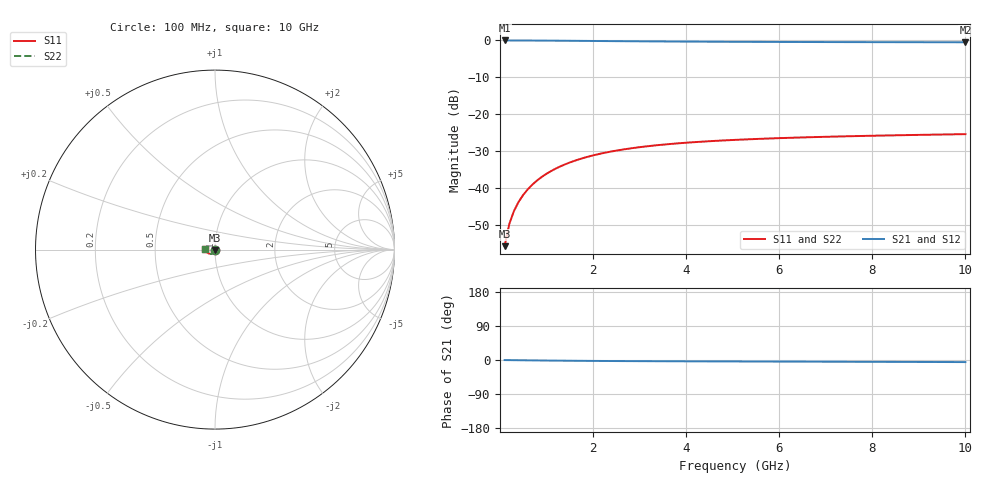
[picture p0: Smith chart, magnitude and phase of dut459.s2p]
! Touchstone file exported from HFSS 2024.1.0
!  File:  C:/UserFiles/LocalFiles/RDL_TSV_Batchsim/temp_TSV1_459_1779697350.aedt
!  Generated:  04:28:18 PM May 25, 2026
!  Design:  TSV1
!  Project:  temp_TSV1_459_1779697350
!  Setup:  Setup1
!  Solution:  Sweep
! Variables:
!  dtsv = 12.95um
!  hbump = 3um
!  htsv = 84.58um
!  lrdl = 252.1521522um
!  p = 40
!  p1 = 59.35um
!  t = 500um
!  trdl = 3um
!  wrdl = 24.89489489um
# GHz S MA R 50.000000
! Terminal data exported
! Port[1] = TSV22_T1
! Port[2] = TSV22_T2
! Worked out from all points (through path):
!   100 points, 100 MHz to 10 GHz, reference 50 ohm
!   highest |S21| = 0.00 dB at 100 MHz (marker M1); lowest = -0.5 dB at 10 GHz (marker M2)
!   lowest |S11| = -55.8 dB at 100 MHz (marker M3), VSWR 1.00, Z = 50 - j0.162 ohm
!   |S11| at or under -10 dB: start of sweep to end of sweep
!   |S22| runs from -55.8 to -25.4 dB; largest |S21 - S12| = 7.4e-15
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0.1  0.001619 -88.8  0.9998 -0.2  0.9998 -0.2  0.001619 -88.8
! Gamma 0 0 0 0
! Port Impedance 50 0 50 0
0.2  0.003233 -92.2  0.9997 -0.3  0.9997 -0.3  0.003233 -92.2
0.3  0.004845 -94.7  0.9994 -0.4  0.9994 -0.4  0.004845 -94.7
0.4  0.006446 -96.9  0.999 -0.6  0.999 -0.6  0.006446 -96.9
0.5  0.008031 -99.1  0.9984 -0.7  0.9984 -0.7  0.008031 -99.1
0.6  0.009594 -101.2  0.9979 -0.9  0.9979 -0.9  0.009594 -101.2
0.7  0.01113 -103.2  0.9972 -1.0  0.9972 -1.0  0.01113 -103.2
0.8  0.01263 -105.2  0.9964 -1.1  0.9964 -1.1  0.01263 -105.2
0.9  0.01411 -107.1  0.9956 -1.3  0.9956 -1.3  0.01411 -107.1
1.1  0.01694 -110.9  0.9937 -1.5  0.9937 -1.5  0.01694 -110.9
1.4  0.02087 -116.3  0.9906 -1.9  0.9906 -1.9  0.02087 -116.3
1.6  0.02328 -119.6  0.9884 -2.1  0.9884 -2.1  0.02328 -119.6
1.8  0.02551 -122.8  0.9861 -2.2  0.9861 -2.2  0.02551 -122.8
2.1  0.02854 -127.3  0.9827 -2.5  0.9827 -2.5  0.02854 -127.3
2.5  0.03204 -132.8  0.9783 -2.8  0.9783 -2.8  0.03204 -132.8
2.9  0.03499 -137.7  0.9742 -3.0  0.9742 -3.0  0.03499 -137.7
3.4  0.03804 -143.2  0.9696 -3.2  0.9696 -3.2  0.03804 -143.2
4.2  0.04181 -150.6  0.9636 -3.6  0.9636 -3.6  0.04181 -150.6
5.1  0.04493 -157.5  0.9584 -3.9  0.9584 -3.9  0.04493 -157.5
6.7  0.04875 -167.3  0.9519 -4.4  0.9519 -4.4  0.04875 -167.3
8.4  0.05153 -175.5  0.9476 -5.0  0.9476 -5.0  0.05153 -175.5
10  0.05357 178.0  0.9448 -5.5  0.9448 -5.5  0.05357 178.0
